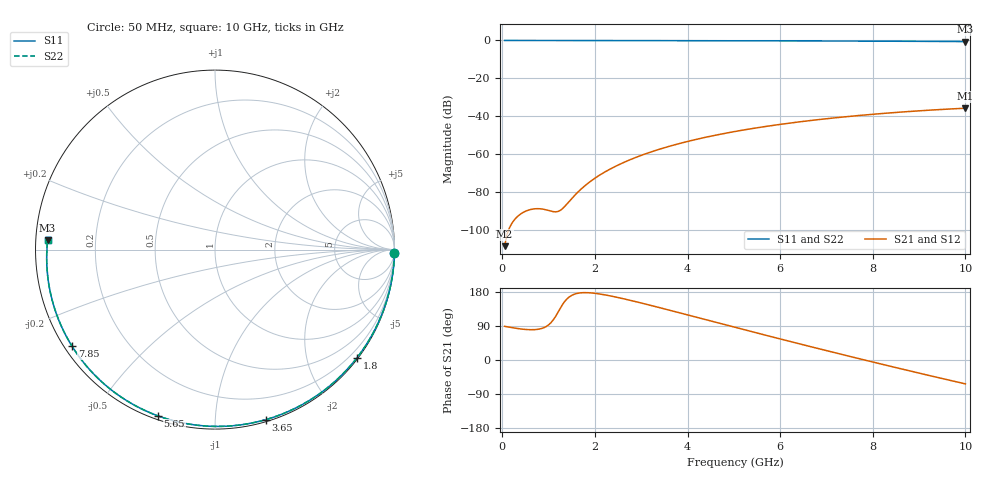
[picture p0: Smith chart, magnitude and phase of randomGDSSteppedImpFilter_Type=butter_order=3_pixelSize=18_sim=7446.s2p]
! freq	dB(S11)	phase(S11)	dB(S12)	phase(S12)
!  dB(S21)	phase(S21)	dB(S22)	phase(S22)
!S-par simulation data
#  GHz  S  DB  R 50
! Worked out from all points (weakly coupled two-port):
!   200 points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, 50 MHz to 10 GHz, reference 50 ohm
!   highest |S21| = -35.82 dB at 10 GHz (marker M1); lowest = -108.8 dB at 50 MHz (marker M2)
!   lowest |S11| = -0.6 dB at 10 GHz (marker M3), VSWR 29.30, Z = 1.71 + j1.42 ohm
!   |S11| at or under -10 dB: nowhere
!   |S22| runs from -0.6 to 0.0 dB; largest |S21 - S12| = 0
!   S11 on the Smith chart (normalised r, x): 50 MHz: open; 1.8 GHz: 0.03, -2.96; 3.65 GHz: 0.02, -1.34; 5.65 GHz: 0.02, -0.71; 7.85 GHz: 0.02, -0.31; 10 GHz: 0.03, +0.03
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0.05  -0.00 -1.1  -108.76 88.9  -108.76 88.9  -0.00 -1.1
0.4  -0.01 -8.5  -91.67 81.9  -91.67 81.9  -0.01 -8.5
0.8  -0.02 -16.8  -88.97 81.7  -88.97 81.7  -0.02 -16.8
1.6  -0.04 -33.3  -80.96 175.3  -80.96 175.3  -0.04 -33.3
1.65  -0.04 -34.3  -79.76 176.5  -79.76 176.5  -0.04 -34.3
1.75  -0.05 -36.4  -77.52 177.7  -77.52 177.7  -0.05 -36.4
1.8  -0.05 -37.4  -76.49 177.8  -76.49 177.8  -0.05 -37.4
2.1  -0.06 -43.4  -71.23 174.3  -71.23 174.3  -0.06 -43.4
2.45  -0.06 -50.3  -66.47 166.2  -66.47 166.2  -0.06 -50.4
2.9  -0.08 -59.1  -61.68 153.4  -61.68 153.4  -0.08 -59.1
3.4  -0.09 -68.7  -57.46 138.1  -57.46 138.1  -0.09 -68.7
3.65  -0.10 -73.4  -55.66 130.2  -55.66 130.2  -0.10 -73.4
4.35  -0.12 -86.2  -51.41 107.9  -51.41 107.9  -0.12 -86.2
5.05  -0.15 -98.6  -48.02 85.5  -48.02 85.5  -0.15 -98.6
5.65  -0.18 -109.0  -45.61 66.5  -45.61 66.5  -0.18 -109.0
6.15  -0.21 -117.5  -43.87 50.9  -43.87 50.9  -0.21 -117.5
6.7  -0.25 -126.7  -42.20 33.9  -42.20 33.9  -0.25 -126.8
7.3  -0.29 -136.7  -40.62 15.6  -40.62 15.6  -0.29 -136.8
7.85  -0.34 -145.9  -39.35 -0.9  -39.35 -0.9  -0.34 -146.0
8.35  -0.39 -154.3  -38.34 -15.7  -38.34 -15.7  -0.39 -154.4
9.2  -0.49 -168.9  -36.89 -40.4  -36.89 -40.4  -0.49 -169.0
10  -0.59 176.8  -35.82 -63.1  -35.82 -63.1  -0.59 176.7
